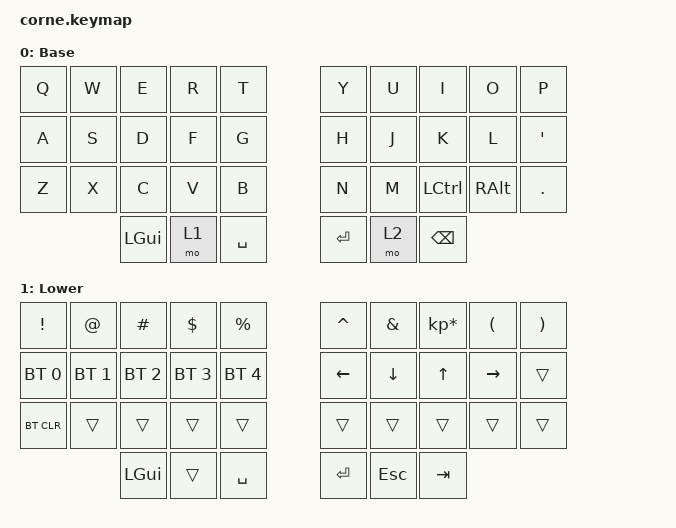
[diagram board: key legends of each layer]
/*
 * Copyright (c) 2020 The ZMK Contributors
 *
 * SPDX-License-Identifier: MIT
 */

#include <behaviors.dtsi>
#include <dt-bindings/zmk/keys.h>
#include <dt-bindings/zmk/bt.h>


#define AS(keycode) &as LS(keycode) keycode

/ {
    chosen {
        zmk,physical-layout = &foostan_corne_5col_layout;
    };

    behaviors {
        as: auto_shift {
            compatible = "zmk,behavior-hold-tap";
            #binding-cells = <2>;
            tapping_term_ms = <200>;
            quick_tap_ms = <0>;
            flavor = "tap-preferred";
            bindings = <&kp>, <&kp>;
        };
    };
        keymap {
                compatible = "zmk,keymap";

                default_layer {
// -----------------------------------------------------------------------------------------
// |  Q  |  W  |  E  |  R  |  T  |     |  Y  |  U   |  I   |  O   | P |
// |  A  |  S  |  D  |  F  |  G  |     |  H  |  J   |  K   |  L   | ' | 
// |  Z  |  X  |  C  |  V  |  B  |     |  N  |  M   | CTRL | META | . |
//             | GUI | LWR | SPC |     | ENT | RSE  | BSPC |
                        display-name = "Base";
                        bindings = <
   &kp Q &kp W &kp E &kp R &kp T     &kp Y   &kp U  &kp I     &kp O     &kp P
   &kp A &kp S &kp D &kp F &kp G     &kp H   &kp J  &kp K     &kp L     &kp SQT
   &kp Z &kp X &kp C &kp V &kp B     &kp N   &kp M  &kp LCTL  &kp RALT  &kp DOT
        &kp LGUI &mo 1 &kp SPACE     &kp RET &mo 2  &kp BSPC
                        >;
                };

                lower_layer {
// -----------------------------------------------------------------------------------------
// | !     |  @  |  #  |  $  |  %  |     |  ^  |  &  |  *  |  (  |  )  |
// | BT1   | BT2 | BT3 | BT4 | BT5 |     | LFT | DWN |  UP | RGT |     |
// | BTCLR |     |     |     |     |     |     |     |     |     |     |
//               | GUI |     | SPC |     | ENT | ESC | TAB |
                        display-name = "Lower";
                        bindings = <
   &kp EXCL     &kp AT       &kp HASH     &kp DLLR     &kp PRCNT        &kp CARET &kp AMPS  &kp KP_MULTIPLY &kp LPAR  &kp RPAR
   &bt BT_SEL 0 &bt BT_SEL 1 &bt BT_SEL 2 &bt BT_SEL 3 &bt BT_SEL 4     &kp LEFT  &kp DOWN  &kp UP          &kp RIGHT &trans 
   &bt BT_CLR   &trans       &trans       &trans       &trans           &trans    &trans    &trans          &trans    &trans 
                             &kp LGUI     &trans       &kp SPACE        &kp RET   &kp ESC   &kp TAB
                        >;
                };

                raise_layer {
                        status = "reserved";
                };

                extra_1 {
                        status = "reserved";
                };

                extra_2 {
                        status = "reserved";
                };

                extra_3 {
                        status = "reserved";
                };
        };
};
